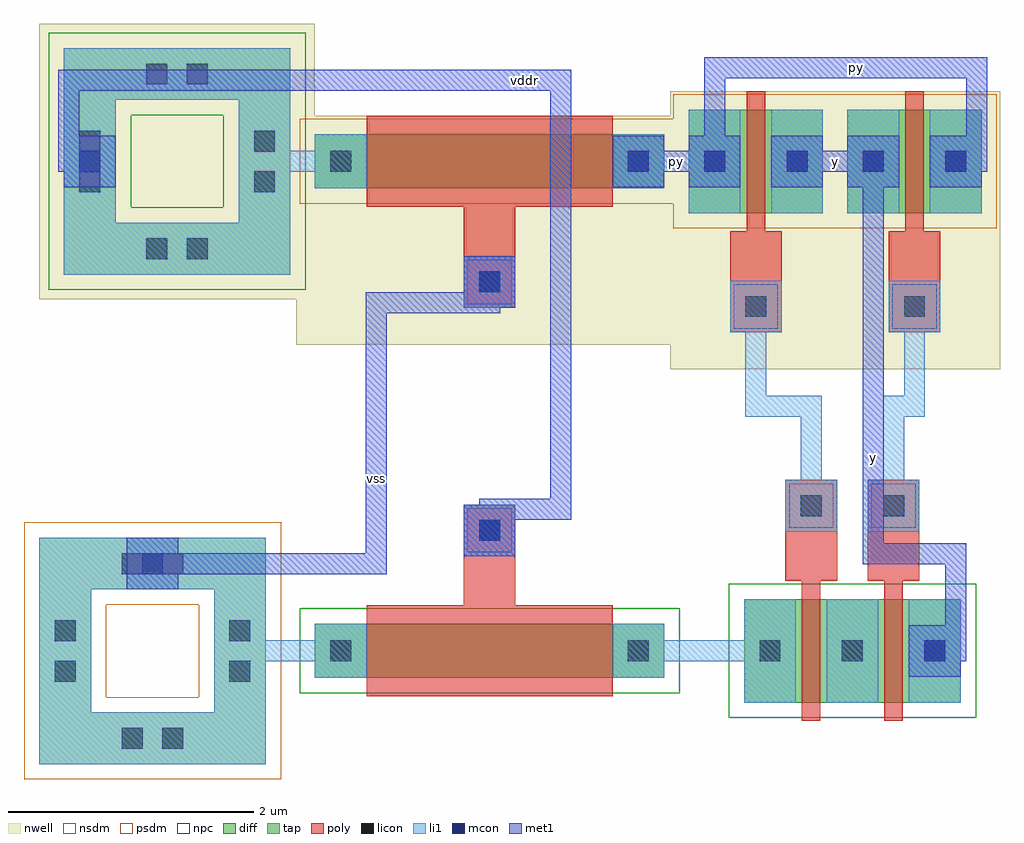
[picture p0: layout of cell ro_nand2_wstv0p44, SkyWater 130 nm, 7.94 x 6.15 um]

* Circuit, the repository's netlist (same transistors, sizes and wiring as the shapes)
* extracted by klt extract --deck sky130

* cell ro_nand2_wstv0p44
* pin a
* pin en
* pin mnab_y,mpa_y,mpb_y,y
* pin mnt_g,vddr
* pin mpa_py,mpb_py,mph_py,py
* pin mph_g,vss
* pin ny
.SUBCKT ro_nand2_wstv0p44 a en mnab_y|mpa_y|mpb_y|y mnt_g|vddr
+ mpa_py|mpb_py|mph_py|py mph_g|vss ny
* device instance $1 r0 *1 1.42,0.21 nfet
M$1 ny mnt_g|vddr mph_g|vss mph_g|vss nfet L=2U W=0.44U AS=0.1848P AD=0.1848P
+ PS=1.72U PD=1.72U
* device instance $2 r0 *1 4.035,0.21 nfet
M$2 \$3 en ny mph_g|vss nfet L=0.15U W=0.84U AS=0.3948P AD=0.2184P PS=2.62U
+ PD=1.36U
* device instance $3 r0 *1 4.705,0.21 nfet
M$3 mnab_y|mpa_y|mpb_y|y a \$3 mph_g|vss nfet L=0.15U W=0.84U AS=0.2184P
+ AD=0.3948P PS=1.36U PD=2.62U
* device instance $4 r0 *1 1.42,4.19 pfet
M$4 mpa_py|mpb_py|mph_py|py mph_g|vss mnt_g|vddr mnt_g|vddr pfet L=2U W=0.44U
+ AS=0.1848P AD=0.1848P PS=1.72U PD=1.72U
* device instance $5 r0 *1 3.585,4.19 pfet
M$5 mnab_y|mpa_y|mpb_y|y en mpa_py|mpb_py|mph_py|py mnt_g|vddr pfet L=0.15U
+ W=0.84U AS=0.3948P AD=0.3948P PS=2.62U PD=2.62U
* device instance $6 r0 *1 4.875,4.19 pfet
M$6 mpa_py|mpb_py|mph_py|py a mnab_y|mpa_y|mpb_y|y mnt_g|vddr pfet L=0.15U
+ W=0.84U AS=0.3948P AD=0.3948P PS=2.62U PD=2.62U
.ENDS ro_nand2_wstv0p44

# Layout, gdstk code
from math import pi, radians
import gdstk
lib = gdstk.Library(unit=1e-6, precision=1e-09)
def R(c, l, rs):  # rectangles x0, y0, x1, y1
    for r in rs: c.add(gdstk.rectangle(r[:2], r[2:], *l))
def A(c, l, x, y, w, h, nx, ny, dx, dy):  # array of equal rectangles
    R(c, l, [(x+i*dx, y+j*dy, x+i*dx+w, y+j*dy+h) for i in range(nx) for j in range(ny)])
def P(c, l, *ps):  # polygons
    for p in ps: c.add(gdstk.Polygon(p, *l))
nwell = (64, 20)
diff = (65, 20)
tap = (65, 44)
poly = (66, 20)
licon = (66, 44)
li1 = (67, 20)
mcon = (67, 44)
met1 = (68, 20)
nsdm = (93, 44)
psdm = (94, 20)
npc = (95, 20)

guard_ring_1 = lib.new_cell('guard_ring$1')
P(guard_ring_1, tap, [(0,0),(0,1.42),(0.42,1.42),(0.42,0.42),(1.42,0.42),(1.42,1.42),(0,1.42),(0,1.84),(1.84,1.84),(1.84,0)])
R(guard_ring_1, licon, [(0.67,0.125,0.84,0.295), (1,0.125,1.17,0.295), (0.125,0.67,0.295,0.84), (1.545,0.67,1.715,0.84), (0.125,1,0.295,1.17), (1.545,1,1.715,1.17), (0.67,1.545,0.84,1.715), (1,1.545,1.17,1.715)])
P(guard_ring_1, li1, [(0,0),(0,1.42),(0.42,1.42),(0.42,0.42),(1.42,0.42),(1.42,1.42),(0,1.42),(0,1.84),(1.84,1.84),(1.84,0)])
P(guard_ring_1, psdm, [(-0.125,-0.125),(-0.125,1.295),(0.545,1.295),(0.545,0.545),(1.295,0.545),(1.295,1.295),(-0.125,1.295),(-0.125,1.965),(1.965,1.965),(1.965,-0.125)])

psub_tap__psub_tap = lib.new_cell('psub_tap__psub_tap')
psub_tap__psub_tap.add(gdstk.Reference(guard_ring_1, (0,0)))

guard_ring = lib.new_cell('guard_ring')
R(guard_ring, nwell, [(-0.2,-0.2,2.04,2.04)])
P(guard_ring, tap, [(0,0),(0,1.42),(0.42,1.42),(0.42,0.42),(1.42,0.42),(1.42,1.42),(0,1.42),(0,1.84),(1.84,1.84),(1.84,0)])
R(guard_ring, licon, [(0.67,0.125,0.84,0.295), (1,0.125,1.17,0.295), (0.125,0.67,0.295,0.84), (1.545,0.67,1.715,0.84), (0.125,1,0.295,1.17), (1.545,1,1.715,1.17), (0.67,1.545,0.84,1.715), (1,1.545,1.17,1.715)])
P(guard_ring, li1, [(0,0),(0,1.42),(0.42,1.42),(0.42,0.42),(1.42,0.42),(1.42,1.42),(0,1.42),(0,1.84),(1.84,1.84),(1.84,0)])
P(guard_ring, nsdm, [(-0.125,-0.125),(-0.125,1.295),(0.545,1.295),(0.545,0.545),(1.295,0.545),(1.295,1.295),(-0.125,1.295),(-0.125,1.965),(1.965,1.965),(1.965,-0.125)])

nwell_tap__nwell_tap = lib.new_cell('nwell_tap__nwell_tap')
nwell_tap__nwell_tap.add(gdstk.Reference(guard_ring, (0,0)))

mos_array_4 = lib.new_cell('mos_array$4')
R(mos_array_4, diff, [(0,0,1.76,0.84)])
R(mos_array_4, poly, [(0.47,-0.15,0.62,0.84), (1.14,-0.15,1.29,0.84), (0.47,0.84,0.62,0.99), (0.47,0.84,0.62,0.99), (1.14,0.84,1.29,0.99), (1.14,0.84,1.29,0.99), (0.335,0.99,0.755,1.81), (1.005,0.99,1.425,1.81)])
A(mos_array_4, licon, 0.125, 0.335, 0.17, 0.17, 3, 1, 0.67, 0)
R(mos_array_4, licon, [(0.46,1.515,0.63,1.685), (1.13,1.515,1.3,1.685)])
A(mos_array_4, li1, 0, 0, 0.42, 0.84, 3, 1, 0.67, 0)
R(mos_array_4, li1, [(0.335,1.39,0.755,1.81), (1.005,1.39,1.425,1.81)])
R(mos_array_4, nsdm, [(-0.125,-0.125,1.885,0.965)])
R(mos_array_4, npc, [(0.365,1.42,0.725,1.78), (1.035,1.42,1.395,1.78)])

mnab__mnab = lib.new_cell('mnab__mnab')
mnab__mnab.add(gdstk.Reference(mos_array_4, (0,0)))

mos_array_3 = lib.new_cell('mos_array$3')
R(mos_array_3, diff, [(0,0,2.84,0.44)])
R(mos_array_3, poly, [(0.42,-0.15,2.42,0.44), (0.42,0.44,2.42,0.59), (0.42,0.44,2.42,0.59), (1.21,0.59,1.63,1.41)])
R(mos_array_3, licon, [(0.125,0.135,0.295,0.305), (2.545,0.135,2.715,0.305), (1.335,1.115,1.505,1.285)])
R(mos_array_3, li1, [(0,0,0.42,0.44), (2.42,0,2.84,0.44), (1.21,0.99,1.63,1.41)])
R(mos_array_3, nsdm, [(-0.125,-0.125,2.965,0.565)])
R(mos_array_3, npc, [(1.24,1.02,1.6,1.38)])

mnt__mnt = lib.new_cell('mnt__mnt')
mnt__mnt.add(gdstk.Reference(mos_array_3, (0,0)))

mos_array_2 = lib.new_cell('mos_array$2')
R(mos_array_2, nwell, [(-0.15,-0.15,1.24,2.11)])
R(mos_array_2, diff, [(0,0,1.09,0.84)])
R(mos_array_2, poly, [(0.47,-0.15,0.62,0.84), (0.47,0.84,0.62,0.99), (0.47,0.84,0.62,0.99), (0.335,0.99,0.755,1.81)])
R(mos_array_2, licon, [(0.125,0.335,0.295,0.505), (0.795,0.335,0.965,0.505), (0.46,1.515,0.63,1.685)])
R(mos_array_2, li1, [(0,0,0.42,0.84), (0.67,0,1.09,0.84), (0.335,1.39,0.755,1.81)])
R(mos_array_2, psdm, [(-0.125,-0.125,1.215,0.965)])
R(mos_array_2, npc, [(0.365,1.42,0.725,1.78)])

mpb__mpb = lib.new_cell('mpb__mpb')
mpb__mpb.add(gdstk.Reference(mos_array_2, (0,0)))

mos_array_1 = lib.new_cell('mos_array$1')
R(mos_array_1, nwell, [(-0.15,-0.15,1.24,2.11)])
R(mos_array_1, diff, [(0,0,1.09,0.84)])
R(mos_array_1, poly, [(0.47,-0.15,0.62,0.84), (0.47,0.84,0.62,0.99), (0.47,0.84,0.62,0.99), (0.335,0.99,0.755,1.81)])
R(mos_array_1, licon, [(0.125,0.335,0.295,0.505), (0.795,0.335,0.965,0.505), (0.46,1.515,0.63,1.685)])
R(mos_array_1, li1, [(0,0,0.42,0.84), (0.67,0,1.09,0.84), (0.335,1.39,0.755,1.81)])
R(mos_array_1, psdm, [(-0.125,-0.125,1.215,0.965)])
R(mos_array_1, npc, [(0.365,1.42,0.725,1.78)])

mpa__mpa = lib.new_cell('mpa__mpa')
mpa__mpa.add(gdstk.Reference(mos_array_1, (0,0)))

mos_array = lib.new_cell('mos_array')
R(mos_array, nwell, [(-0.15,-0.15,2.99,1.71)])
R(mos_array, diff, [(0,0,2.84,0.44)])
R(mos_array, poly, [(0.42,-0.15,2.42,0.44), (0.42,0.44,2.42,0.59), (0.42,0.44,2.42,0.59), (1.21,0.59,1.63,1.41)])
R(mos_array, licon, [(0.125,0.135,0.295,0.305), (2.545,0.135,2.715,0.305), (1.335,1.115,1.505,1.285)])
R(mos_array, li1, [(0,0,0.42,0.44), (2.42,0,2.84,0.44), (1.21,0.99,1.63,1.41)])
R(mos_array, psdm, [(-0.125,-0.125,2.965,0.565)])
R(mos_array, npc, [(1.24,1.02,1.6,1.38)])

mph__mph = lib.new_cell('mph__mph')
mph__mph.add(gdstk.Reference(mos_array, (0,0)))

core__core = lib.new_cell('core__core')
R(core__core, li1, [(3.825,1.39,4.245,1.56), (4.495,1.39,4.915,1.56), (3.375,2.84,3.795,3.01), (4.665,2.84,5.085,3.01)])
core__core.add(gdstk.FlexPath([(0.21,4.19),(-0.41,4.19)], 0.17, ends="flush", simple_path=True, layer=67, datatype=20))  # li1
core__core.add(gdstk.FlexPath([(0.21,0.21),(-0.61,0.21)], 0.17, ends="flush", simple_path=True, layer=67, datatype=20))  # li1
core__core.add(gdstk.FlexPath([(2.63,0.21),(3.7,0.21)], 0.17, ends="flush", simple_path=True, layer=67, datatype=20))  # li1
core__core.add(gdstk.FlexPath([(3.585,3.01),(3.585,2.2),(4.035,2.2),(4.035,1.39)], 0.17, ends="flush", simple_path=True, layer=67, datatype=20))  # li1
core__core.add(gdstk.FlexPath([(4.875,3.01),(4.875,2.2),(4.705,2.2),(4.705,1.39)], 0.17, ends="flush", simple_path=True, layer=67, datatype=20))  # li1
core__core.add(gdstk.Reference(psub_tap__psub_tap, (-2.24,-0.71)))
core__core.add(gdstk.Reference(nwell_tap__nwell_tap, (-2.04,3.27)))
core__core.add(gdstk.Reference(mnab__mnab, (3.49,-0.21)))
core__core.add(gdstk.Reference(mnt__mnt, (0,-0.01)))
core__core.add(gdstk.Reference(mpb__mpb, (5.42,4.61), rotation=pi))
core__core.add(gdstk.Reference(mpa__mpa, (3.04,4.61), x_reflection=True))
core__core.add(gdstk.Reference(mph__mph, (0,4.41), x_reflection=True))
core__core.add(gdstk.Label('vddr', (-0.1,4.19), layer=67, texttype=5))
core__core.add(gdstk.Label('vss', (-0.2,0.21), layer=67, texttype=5))
core__core.add(gdstk.Label('ny', (3.165,0.21), layer=67, texttype=5))
core__core.add(gdstk.Label('en', (3.81,2.2), layer=67, texttype=5))
core__core.add(gdstk.Label('a', (4.79,2.2), layer=67, texttype=5))
core__core.add(gdstk.Label('vddr', (-1.83,4.19), layer=67, texttype=5))
core__core.add(gdstk.Label('vss', (-1.32,0.92), layer=67, texttype=5))
core__core.add(gdstk.Label('mph_py', (2.63,4.19), layer=67, texttype=5))
core__core.add(gdstk.Label('mpa_py', (3.25,4.19), layer=67, texttype=5))
core__core.add(gdstk.Label('mpb_py', (5.21,4.19), layer=67, texttype=5))
core__core.add(gdstk.Label('mpa_y', (3.92,4.19), layer=67, texttype=5))
core__core.add(gdstk.Label('mpb_y', (4.54,4.19), layer=67, texttype=5))
core__core.add(gdstk.Label('mnab_y', (5.04,0.21), layer=67, texttype=5))
core__core.add(gdstk.Label('mph_g', (1.42,3.21), layer=67, texttype=5))
core__core.add(gdstk.Label('mnt_g', (1.42,1.19), layer=67, texttype=5))

ro_nand2_wstv0p44 = lib.new_cell('ro_nand2_wstv0p44')
R(ro_nand2_wstv0p44, li1, [(4.83,0,5.25,0.42), (-1.53,0.71,-1.11,1.13), (1.21,0.98,1.63,1.4), (1.21,3,1.63,3.42), (-2.04,3.98,-1.62,4.4), (2.42,3.98,2.84,4.4), (3.04,3.98,3.46,4.4), (3.04,3.98,3.46,4.4), (3.71,3.98,4.13,4.4), (4.33,3.98,4.75,4.4), (4.33,3.98,4.75,4.4), (5,3.98,5.42,4.4)])
R(ro_nand2_wstv0p44, mcon, [(4.955,0.125,5.125,0.295), (-1.405,0.835,-1.235,1.005), (1.335,1.105,1.505,1.275), (1.335,3.125,1.505,3.295), (-1.915,4.105,-1.745,4.275), (2.545,4.105,2.715,4.275), (3.165,4.105,3.335,4.275), (3.165,4.105,3.335,4.275), (3.835,4.105,4.005,4.275), (4.455,4.105,4.625,4.275), (4.455,4.105,4.625,4.275), (5.125,4.105,5.295,4.275)])
R(ro_nand2_wstv0p44, met1, [(4.83,0,5.25,0.42), (-1.53,0.71,-1.11,1.13), (1.21,0.98,1.63,1.4), (1.21,3,1.63,3.42), (-2.04,3.98,-1.62,4.4), (2.42,3.98,2.84,4.4), (3.04,3.98,3.46,4.4), (3.04,3.98,3.46,4.4), (3.71,3.98,4.13,4.4), (4.33,3.98,4.75,4.4), (4.33,3.98,4.75,4.4), (5,3.98,5.42,4.4)])
ro_nand2_wstv0p44.add(gdstk.FlexPath([(2.63,4.19),(3.25,4.19)], 0.17, ends="flush", simple_path=True, layer=68, datatype=20))  # met1
ro_nand2_wstv0p44.add(gdstk.FlexPath([(3.25,4.19),(3.25,4.95),(5.38,4.95),(5.38,4.19),(5.21,4.19)], 0.17, ends="flush", simple_path=True, layer=68, datatype=20))  # met1
ro_nand2_wstv0p44.add(gdstk.FlexPath([(3.92,4.19),(4.54,4.19)], 0.17, ends="flush", simple_path=True, layer=68, datatype=20))  # met1
ro_nand2_wstv0p44.add(gdstk.FlexPath([(4.54,4.19),(4.54,1),(5.21,1),(5.21,0.21),(5.04,0.21)], 0.17, ends="flush", simple_path=True, layer=68, datatype=20))  # met1
ro_nand2_wstv0p44.add(gdstk.FlexPath([(1.42,3.21),(1.42,3.04),(0.5,3.04),(0.5,0.92),(-1.32,0.92),(-1.32,0.92)], 0.17, ends="flush", simple_path=True, layer=68, datatype=20))  # met1
ro_nand2_wstv0p44.add(gdstk.FlexPath([(1.42,1.19),(1.42,1.36),(2,1.36),(2,4.85),(-2,4.85),(-2,4.19),(-1.83,4.19)], 0.17, ends="flush", simple_path=True, layer=68, datatype=20))  # met1
ro_nand2_wstv0p44.add(gdstk.Reference(core__core, (0,0)))
ro_nand2_wstv0p44.add(gdstk.Label('py', (2.94,4.19), layer=68, texttype=5))
ro_nand2_wstv0p44.add(gdstk.Label('py', (4.4,4.95), layer=68, texttype=5))
ro_nand2_wstv0p44.add(gdstk.Label('y', (4.23,4.19), layer=68, texttype=5))
ro_nand2_wstv0p44.add(gdstk.Label('y', (4.54,1.78), layer=68, texttype=5))
ro_nand2_wstv0p44.add(gdstk.Label('vss', (0.5,1.615), layer=68, texttype=5))
ro_nand2_wstv0p44.add(gdstk.Label('vddr', (1.705,4.85), layer=68, texttype=5))

lib.write_gds('ro_nand2_wstv0p44.gds')
